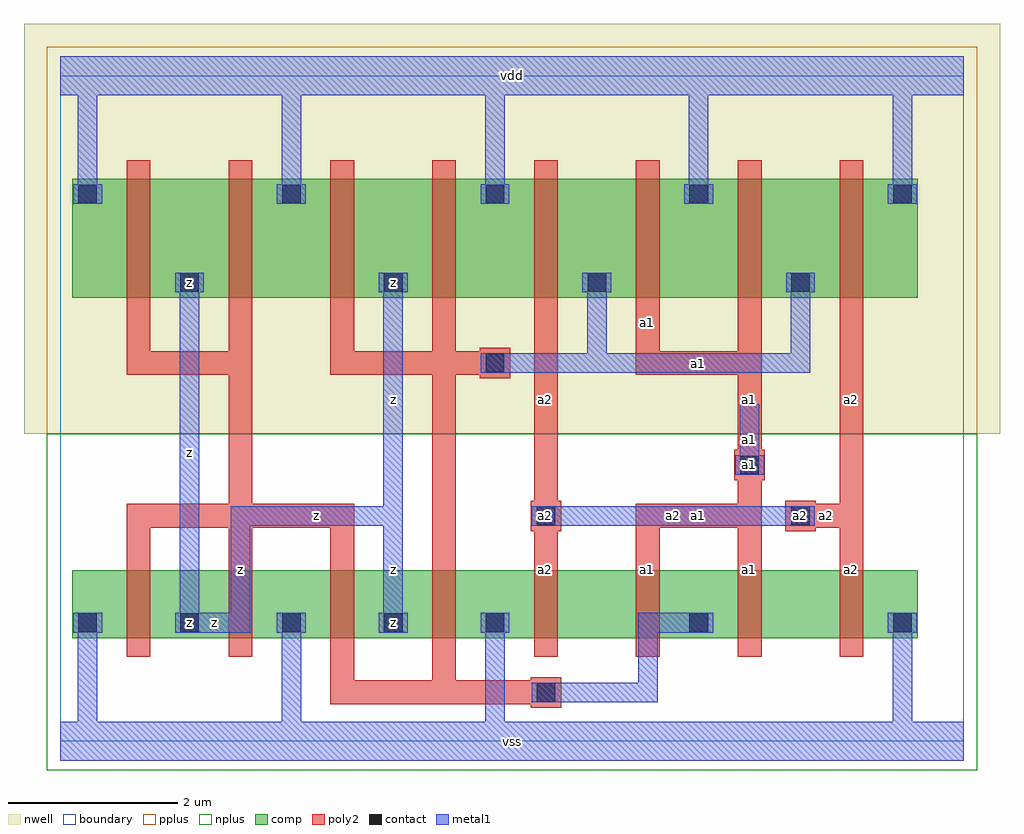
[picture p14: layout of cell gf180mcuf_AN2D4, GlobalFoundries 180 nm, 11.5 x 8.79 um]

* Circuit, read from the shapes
.subckt gf180mcuf_AN2D4 a1 a2 vdd vss z
XM1 z n1 vss VSUBS nfet_03v3 w=0.8u l=0.28u m=4
XM2 n2 a2 vss VSUBS nfet_03v3 w=0.8u l=0.28u
XM3 n1 a1 n2 VSUBS nfet_03v3 w=0.8u l=0.28u
XM4 n3 a1 n1 VSUBS nfet_03v3 w=0.8u l=0.28u
XM5 vss a2 n3 VSUBS nfet_03v3 w=0.8u l=0.28u
XM6 z n1 vdd n4 pfet_03v3 w=1.4u l=0.28u m=4
XM7 n1 a2 vdd n4 pfet_03v3 w=1.4u l=0.28u m=2
XM8 vdd a1 n1 n4 pfet_03v3 w=1.4u l=0.28u m=2
.ends

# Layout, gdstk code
import gdstk
lib = gdstk.Library(unit=1e-6, precision=1e-09)
def R(c, l, rs):  # rectangles x0, y0, x1, y1
    for r in rs: c.add(gdstk.rectangle(r[:2], r[2:], *l))
def A(c, l, x, y, w, h, nx, ny, dx, dy):  # array of equal rectangles
    R(c, l, [(x+i*dx, y+j*dy, x+i*dx+w, y+j*dy+h) for i in range(nx) for j in range(ny)])
boundary = (0, 0)
nwell = (21, 0)
comp = (22, 0)
poly2 = (30, 0)
pplus = (31, 0)
nplus = (32, 0)
contact = (33, 0)
metal1 = (34, 0)

gf180mcuf_an2d4 = lib.new_cell('gf180mcuf_AN2D4')
R(gf180mcuf_an2d4, boundary, [(0,0,10.64,7.84)])
R(gf180mcuf_an2d4, nwell, [(-0.43,3.62,11.07,8.45)])
A(gf180mcuf_an2d4, comp, 0.14, 1.215, 1.56, 0.8, 8, 1, 1.2, 0)
A(gf180mcuf_an2d4, comp, 0.14, 1.215, 0.36, 0.36, 5, 1, 1.2, 0)
A(gf180mcuf_an2d4, comp, 0.14, 5.225, 1.56, 1.4, 8, 1, 1.2, 0)
A(gf180mcuf_an2d4, comp, 1.34, 5.225, 0.36, 0.36, 4, 1, 2.4, 0)
A(gf180mcuf_an2d4, comp, 0.14, 6.265, 0.36, 0.36, 5, 1, 2.4, 0)
R(gf180mcuf_an2d4, comp, [(7.34,1.215,7.7,1.575), (9.74,1.215,10.1,1.575)])
A(gf180mcuf_an2d4, poly2, 0.78, 0.995, 0.28, 1.24, 8, 1, 1.2, 0)
A(gf180mcuf_an2d4, poly2, 5.58, 1.255, 0.28, 1.54, 4, 1, 1.2, 0)
A(gf180mcuf_an2d4, poly2, 0.78, 5.005, 0.28, 1.84, 8, 1, 1.2, 0)
R(gf180mcuf_an2d4, poly2, [(5.54,0.395,5.9,0.755), (3.18,0.435,5.86,0.715), (3.18,0.435,3.46,2.795), (3.18,0.435,3.46,1.535), (4.38,0.435,4.66,1.535), (0.78,1.255,1.06,2.795), (1.98,1.255,2.26,2.795), (4.38,1.255,4.66,5.545), (5.54,2.475,5.9,2.835), (8.54,2.475,8.9,2.835), (0.78,2.515,3.46,2.795), (1.98,2.515,2.26,5.545), (5.58,2.515,5.86,5.545), (6.78,2.515,8.26,2.795), (7.98,2.515,8.26,5.545), (8.58,2.515,9.46,2.795), (9.18,2.515,9.46,5.545), (7.94,3.075,8.3,3.435), (4.94,4.275,5.3,4.635), (0.78,4.315,2.26,4.595), (0.78,4.315,1.06,5.545), (3.18,4.315,4.66,4.595), (3.18,4.315,3.46,5.545), (4.38,4.315,5.26,4.595), (6.78,4.315,8.26,4.595), (6.78,4.315,7.06,5.545)])
R(gf180mcuf_an2d4, pplus, [(-0.16,3.62,10.8,7.5), (-0.16,7.5,10.8,8.18)])
R(gf180mcuf_an2d4, nplus, [(-0.16,-0.34,10.8,0.34), (-0.16,0.34,10.8,3.62)])
A(gf180mcuf_an2d4, contact, 0.21, 1.285, 0.22, 0.22, 5, 1, 1.2, 0)
A(gf180mcuf_an2d4, contact, 1.41, 5.295, 0.22, 0.22, 4, 1, 2.4, 0)
A(gf180mcuf_an2d4, contact, 0.21, 6.335, 0.22, 0.22, 5, 1, 2.4, 0)
R(gf180mcuf_an2d4, contact, [(5.61,0.465,5.83,0.685), (7.41,1.285,7.63,1.505), (9.81,1.285,10.03,1.505), (5.61,2.545,5.83,2.765), (8.61,2.545,8.83,2.765), (8.01,3.145,8.23,3.365), (5.01,4.345,5.23,4.565)])
A(gf180mcuf_an2d4, metal1, 0.205, 0.065, 0.23, 1.445, 3, 1, 2.4, 0)
A(gf180mcuf_an2d4, metal1, 0.15, 1.28, 0.34, 0.23, 5, 1, 1.2, 0)
A(gf180mcuf_an2d4, metal1, 1.35, 5.29, 0.34, 0.23, 4, 1, 2.4, 0)
A(gf180mcuf_an2d4, metal1, 0.15, 6.33, 0.34, 0.23, 5, 1, 2.4, 0)
A(gf180mcuf_an2d4, metal1, 0.205, 6.33, 0.23, 1.445, 5, 1, 2.4, 0)
R(gf180mcuf_an2d4, metal1, [(0,-0.23,10.64,0.23), (9.805,0.065,10.035,1.51), (5.55,0.46,5.89,0.69), (5.605,0.46,7.035,0.69), (6.805,0.46,7.035,1.51), (1.405,1.28,2.235,1.51), (1.405,1.28,1.635,5.52), (2.005,1.28,2.235,2.77), (3.805,1.28,4.035,2.77), (6.805,1.28,7.635,1.51), (7.35,1.28,7.69,1.51), (9.75,1.28,10.09,1.51), (2.005,2.54,4.035,2.77), (3.805,2.54,4.035,5.52), (5.55,2.54,5.89,2.77), (5.605,2.54,8.835,2.77), (8.55,2.54,8.89,2.77), (7.95,3.14,8.29,3.37), (8.005,3.14,8.235,3.97), (4.95,4.34,5.29,4.57), (5.005,4.34,8.835,4.57), (6.205,4.34,6.435,5.52), (8.605,4.34,8.835,5.52), (0,7.61,10.64,8.07)])
gf180mcuf_an2d4.add(gdstk.FlexPath([(0.14,0.575),(10.1,0.575)], 0, ends="flush", simple_path=True, layer=0, datatype=0))  # boundary
gf180mcuf_an2d4.add(gdstk.FlexPath([(0.14,1.395),(10.1,1.395)], 0, ends="flush", simple_path=True, layer=0, datatype=0))  # boundary
gf180mcuf_an2d4.add(gdstk.FlexPath([(0.14,2.655),(10.1,2.655)], 0, ends="flush", simple_path=True, layer=0, datatype=0))  # boundary
gf180mcuf_an2d4.add(gdstk.FlexPath([(0.14,3.255),(10.1,3.255)], 0, ends="flush", simple_path=True, layer=0, datatype=0))  # boundary
gf180mcuf_an2d4.add(gdstk.FlexPath([(0.14,3.855),(10.1,3.855)], 0, ends="flush", simple_path=True, layer=0, datatype=0))  # boundary
gf180mcuf_an2d4.add(gdstk.FlexPath([(0.14,4.455),(10.1,4.455)], 0, ends="flush", simple_path=True, layer=0, datatype=0))  # boundary
gf180mcuf_an2d4.add(gdstk.FlexPath([(0.14,5.405),(10.1,5.405)], 0, ends="flush", simple_path=True, layer=0, datatype=0))  # boundary
gf180mcuf_an2d4.add(gdstk.FlexPath([(0.14,6.445),(10.1,6.445)], 0, ends="flush", simple_path=True, layer=0, datatype=0))  # boundary
gf180mcuf_an2d4.add(gdstk.FlexPath([(0.14,7.265),(10.1,7.265)], 0, ends="flush", simple_path=True, layer=0, datatype=0))  # boundary
gf180mcuf_an2d4.add(gdstk.FlexPath([(0.32,0.065),(0.32,7.775)], 0, ends="flush", simple_path=True, layer=0, datatype=0))  # boundary
gf180mcuf_an2d4.add(gdstk.FlexPath([(0.92,0.065),(0.92,7.775)], 0, ends="flush", simple_path=True, layer=0, datatype=0))  # boundary
gf180mcuf_an2d4.add(gdstk.FlexPath([(1.52,0.065),(1.52,7.775)], 0, ends="flush", simple_path=True, layer=0, datatype=0))  # boundary
gf180mcuf_an2d4.add(gdstk.FlexPath([(2.12,0.065),(2.12,7.775)], 0, ends="flush", simple_path=True, layer=0, datatype=0))  # boundary
gf180mcuf_an2d4.add(gdstk.FlexPath([(2.72,0.065),(2.72,7.775)], 0, ends="flush", simple_path=True, layer=0, datatype=0))  # boundary
gf180mcuf_an2d4.add(gdstk.FlexPath([(3.32,0.065),(3.32,7.775)], 0, ends="flush", simple_path=True, layer=0, datatype=0))  # boundary
gf180mcuf_an2d4.add(gdstk.FlexPath([(3.92,0.065),(3.92,7.775)], 0, ends="flush", simple_path=True, layer=0, datatype=0))  # boundary
gf180mcuf_an2d4.add(gdstk.FlexPath([(4.52,0.065),(4.52,7.775)], 0, ends="flush", simple_path=True, layer=0, datatype=0))  # boundary
gf180mcuf_an2d4.add(gdstk.FlexPath([(5.12,0.065),(5.12,7.775)], 0, ends="flush", simple_path=True, layer=0, datatype=0))  # boundary
gf180mcuf_an2d4.add(gdstk.FlexPath([(5.72,0.065),(5.72,7.775)], 0, ends="flush", simple_path=True, layer=0, datatype=0))  # boundary
gf180mcuf_an2d4.add(gdstk.FlexPath([(6.32,0.065),(6.32,7.775)], 0, ends="flush", simple_path=True, layer=0, datatype=0))  # boundary
gf180mcuf_an2d4.add(gdstk.FlexPath([(6.92,0.065),(6.92,7.775)], 0, ends="flush", simple_path=True, layer=0, datatype=0))  # boundary
gf180mcuf_an2d4.add(gdstk.FlexPath([(7.52,0.065),(7.52,7.775)], 0, ends="flush", simple_path=True, layer=0, datatype=0))  # boundary
gf180mcuf_an2d4.add(gdstk.FlexPath([(8.12,0.065),(8.12,7.775)], 0, ends="flush", simple_path=True, layer=0, datatype=0))  # boundary
gf180mcuf_an2d4.add(gdstk.FlexPath([(8.72,0.065),(8.72,7.775)], 0, ends="flush", simple_path=True, layer=0, datatype=0))  # boundary
gf180mcuf_an2d4.add(gdstk.FlexPath([(9.32,0.065),(9.32,7.775)], 0, ends="flush", simple_path=True, layer=0, datatype=0))  # boundary
gf180mcuf_an2d4.add(gdstk.FlexPath([(9.92,0.065),(9.92,7.775)], 0, ends="flush", simple_path=True, layer=0, datatype=0))  # boundary
gf180mcuf_an2d4.add(gdstk.Label('z', (1.52,1.395), layer=22, texttype=0))
gf180mcuf_an2d4.add(gdstk.Label('z', (3.92,1.395), layer=22, texttype=0))
gf180mcuf_an2d4.add(gdstk.Label('z', (3.92,5.405), layer=22, texttype=0))
gf180mcuf_an2d4.add(gdstk.Label('z', (1.52,5.405), layer=22, texttype=0))
gf180mcuf_an2d4.add(gdstk.Label('a1', (8.12,2.025), layer=30, texttype=0))
gf180mcuf_an2d4.add(gdstk.Label('a1', (7.52,2.655), layer=30, texttype=0))
gf180mcuf_an2d4.add(gdstk.Label('a1', (6.92,2.025), layer=30, texttype=0))
gf180mcuf_an2d4.add(gdstk.Label('a1', (8.12,4.03), layer=30, texttype=0))
gf180mcuf_an2d4.add(gdstk.Label('a1', (7.52,4.455), layer=30, texttype=0))
gf180mcuf_an2d4.add(gdstk.Label('a1', (6.92,4.93), layer=30, texttype=0))
gf180mcuf_an2d4.add(gdstk.Label('a1', (8.12,3.255), layer=30, texttype=0))
gf180mcuf_an2d4.add(gdstk.Label('a2', (9.32,2.025), layer=30, texttype=0))
gf180mcuf_an2d4.add(gdstk.Label('a2', (9.02,2.655), layer=30, texttype=0))
gf180mcuf_an2d4.add(gdstk.Label('a2', (8.72,2.655), layer=30, texttype=0))
gf180mcuf_an2d4.add(gdstk.Label('a2', (5.72,2.655), layer=30, texttype=0))
gf180mcuf_an2d4.add(gdstk.Label('a2', (5.72,2.025), layer=30, texttype=0))
gf180mcuf_an2d4.add(gdstk.Label('a2', (9.32,4.03), layer=30, texttype=0))
gf180mcuf_an2d4.add(gdstk.Label('a2', (5.72,4.03), layer=30, texttype=0))
gf180mcuf_an2d4.add(gdstk.Label('a1', (8.12,3.255), layer=33, texttype=0))
gf180mcuf_an2d4.add(gdstk.Label('z', (1.52,1.395), layer=33, texttype=0))
gf180mcuf_an2d4.add(gdstk.Label('z', (3.92,1.395), layer=33, texttype=0))
gf180mcuf_an2d4.add(gdstk.Label('z', (3.92,5.405), layer=33, texttype=0))
gf180mcuf_an2d4.add(gdstk.Label('z', (1.52,5.405), layer=33, texttype=0))
gf180mcuf_an2d4.add(gdstk.Label('a2', (8.72,2.655), layer=33, texttype=0))
gf180mcuf_an2d4.add(gdstk.Label('a2', (5.72,2.655), layer=33, texttype=0))
gf180mcuf_an2d4.add(gdstk.Label('a1', (8.12,3.255), layer=34, texttype=10))
gf180mcuf_an2d4.add(gdstk.Label('a1', (8.12,3.555), layer=34, texttype=10))
gf180mcuf_an2d4.add(gdstk.Label('z', (1.52,1.395), layer=34, texttype=10))
gf180mcuf_an2d4.add(gdstk.Label('z', (3.92,1.395), layer=34, texttype=10))
gf180mcuf_an2d4.add(gdstk.Label('z', (3.92,5.405), layer=34, texttype=10))
gf180mcuf_an2d4.add(gdstk.Label('z', (1.52,5.405), layer=34, texttype=10))
gf180mcuf_an2d4.add(gdstk.Label('z', (1.82,1.395), layer=34, texttype=10))
gf180mcuf_an2d4.add(gdstk.Label('z', (2.12,2.025), layer=34, texttype=10))
gf180mcuf_an2d4.add(gdstk.Label('z', (3.02,2.655), layer=34, texttype=10))
gf180mcuf_an2d4.add(gdstk.Label('z', (3.92,2.025), layer=34, texttype=10))
gf180mcuf_an2d4.add(gdstk.Label('z', (3.92,4.03), layer=34, texttype=10))
gf180mcuf_an2d4.add(gdstk.Label('z', (1.52,3.4), layer=34, texttype=10))
gf180mcuf_an2d4.add(gdstk.Label('a2', (8.72,2.655), layer=34, texttype=10))
gf180mcuf_an2d4.add(gdstk.Label('a2', (7.22,2.655), layer=34, texttype=10))
gf180mcuf_an2d4.add(gdstk.Label('a2', (5.72,2.655), layer=34, texttype=10))
gf180mcuf_an2d4.add(gdstk.Label('vss', (5.32,0), layer=34, texttype=10))
gf180mcuf_an2d4.add(gdstk.Label('vdd', (5.32,7.84), layer=34, texttype=10))

lib.write_gds('gf180mcuf_AN2D4.gds')
